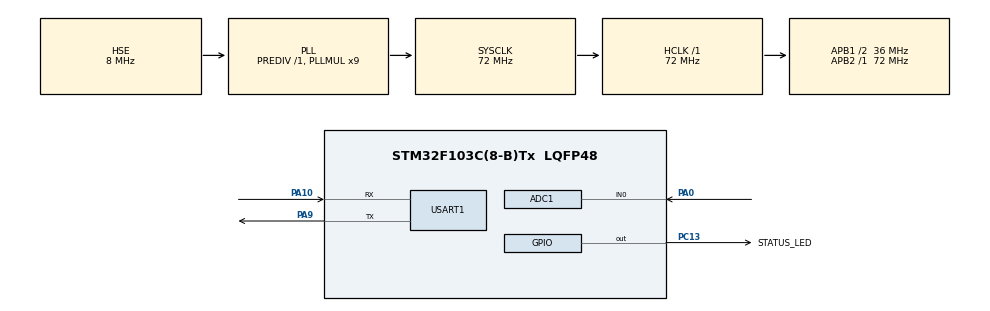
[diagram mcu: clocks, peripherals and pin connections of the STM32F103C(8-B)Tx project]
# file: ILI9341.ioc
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ADC1.Channel-0\#ChannelRegularConversion=ADC_CHANNEL_0
ADC1.ContinuousConvMode=DISABLE
ADC1.DataAlign=ADC_DATAALIGN_RIGHT
ADC1.DiscontinuousConvMode=DISABLE
ADC1.EnableAnalogWatchDog=false
ADC1.EnableRegularConversion=ENABLE
ADC1.ExternalTrigConv=ADC_EXTERNALTRIGCONV_T3_TRGO
ADC1.InjNumberOfConversion=0
ADC1.NbrOfConversion=1
ADC1.NbrOfConversionFlag=1
ADC1.Rank-0\#ChannelRegularConversion=1
ADC1.SamplingTime-0\#ChannelRegularConversion=ADC_SAMPLETIME_1CYCLE_5
ADC1.ScanConvMode=ADC_SCAN_DISABLE
ADC1.master=1
Dma.MEMTOMEM.0.Direction=DMA_MEMORY_TO_MEMORY
Dma.MEMTOMEM.0.Instance=DMA1_Channel1
Dma.MEMTOMEM.0.MemDataAlignment=DMA_MDATAALIGN_BYTE
Dma.MEMTOMEM.0.MemInc=DMA_MINC_ENABLE
Dma.MEMTOMEM.0.Mode=DMA_NORMAL
Dma.MEMTOMEM.0.PeriphDataAlignment=DMA_PDATAALIGN_BYTE
Dma.MEMTOMEM.0.PeriphInc=DMA_PINC_ENABLE
Dma.MEMTOMEM.0.Priority=DMA_PRIORITY_LOW
Dma.Request0=MEMTOMEM
Mcu.Family=STM32F1
Mcu.Name=STM32F103C(8-B)Tx
Mcu.Package=LQFP48
NVIC.PriorityGroup=NVIC_PRIORITYGROUP_4
NVIC.TIM3_IRQn=true\:0\:0\:false\:false\:true
PA0-WKUP.Signal=ADCx_IN0
PA10.Mode=Asynchronous
PA10.Signal=USART1_RX
PA13.Mode=Serial_Wire
PA13.Signal=SYS_JTMS-SWDIO
PA14.Mode=Serial_Wire
PA14.Signal=SYS_JTCK-SWCLK
PA9.Mode=Asynchronous
PA9.Signal=USART1_TX
PC13-TAMPER-RTC.GPIO_Label=STATUS_LED
PC13-TAMPER-RTC.Signal=GPIO_Output
PD0-OSC_IN.Mode=HSE-External-Oscillator
PD0-OSC_IN.Signal=RCC_OSC_IN
PD1-OSC_OUT.Mode=HSE-External-Oscillator
PD1-OSC_OUT.Signal=RCC_OSC_OUT
ProjectManager.HeapSize=0x200
ProjectManager.StackSize=0x400
ProjectManager.TargetToolchain=Makefile
RCC.ADCPresc=RCC_ADCPCLK2_DIV6
RCC.AHBFreq_Value=72000000
RCC.APB1CLKDivider=RCC_HCLK_DIV2
RCC.APB1Freq_Value=36000000
RCC.APB1TimFreq_Value=72000000
RCC.APB2Freq_Value=72000000
RCC.APB2TimFreq_Value=72000000
RCC.HCLKFreq_Value=72000000
RCC.PLLMUL=RCC_PLL_MUL9
RCC.PLLSourceVirtual=RCC_PLLSOURCE_HSE
RCC.SYSCLKFreq_VALUE=72000000
RCC.SYSCLKSource=RCC_SYSCLKSOURCE_PLLCLK
RCC.USBFreq_Value=72000000
SH.ADCx_IN0.0=ADC1_IN0,IN0
TIM3.Period=10
TIM3.Prescaler=72-1
TIM3.TIM_MasterOutputTrigger=TIM_TRGO_UPDATE
USART1.VirtualMode=VM_ASYNC
VP_TIM3_VS_ClockSourceINT.Mode=Internal
board=ILI9341

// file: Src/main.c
/**
  ******************************************************************************
  * File Name          : main.c
  * Description        : Main program body
  ******************************************************************************
  ** This notice applies to any and all portions of this file
  * that are not between comment pairs USER CODE BEGIN and
  * USER CODE END. Other portions of this file, whether
  * inserted by the user or by software development tools
  * are owned by their respective copyright owners.
  *
  * COPYRIGHT(c) 2018 STMicroelectronics
  *
  * Redistribution and use in source and binary forms, with or without modification,
  * are permitted provided that the following conditions are met:
  *   1. Redistributions of source code must retain the above copyright notice,
  *      this list of conditions and the following disclaimer.
  *   2. Redistributions in binary form must reproduce the above copyright notice,
  *      this list of conditions and the following disclaimer in the documentation
  *      and/or other materials provided with the distribution.
  *   3. Neither the name of STMicroelectronics nor the names of its contributors
  *      may be used to endorse or promote products derived from this software
  *      without specific prior written permission.
  *
  * THIS SOFTWARE IS PROVIDED BY THE COPYRIGHT HOLDERS AND CONTRIBUTORS "AS IS"
  * AND ANY EXPRESS OR IMPLIED WARRANTIES, INCLUDING, BUT NOT LIMITED TO, THE
  * IMPLIED WARRANTIES OF MERCHANTABILITY AND FITNESS FOR A PARTICULAR PURPOSE ARE
  * DISCLAIMED. IN NO EVENT SHALL THE COPYRIGHT HOLDER OR CONTRIBUTORS BE LIABLE
  * FOR ANY DIRECT, INDIRECT, INCIDENTAL, SPECIAL, EXEMPLARY, OR CONSEQUENTIAL
  * DAMAGES (INCLUDING, BUT NOT LIMITED TO, PROCUREMENT OF SUBSTITUTE GOODS OR
  * SERVICES; LOSS OF USE, DATA, OR PROFITS; OR BUSINESS INTERRUPTION) HOWEVER
  * CAUSED AND ON ANY THEORY OF LIABILITY, WHETHER IN CONTRACT, STRICT LIABILITY,
  * OR TORT (INCLUDING NEGLIGENCE OR OTHERWISE) ARISING IN ANY WAY OUT OF THE USE
  * OF THIS SOFTWARE, EVEN IF ADVISED OF THE POSSIBILITY OF SUCH DAMAGE.
  *
  ******************************************************************************
  */
#include "main.h"
#include "stm32f1xx_hal.h"
#include "adc.h"
#include "dma.h"
#include "tim.h"
#include "usart.h"
#include "gpio.h"

/* USER CODE BEGIN Includes */
#include "pins_ext.h"
#include "bit_band.h"
#include "soft_spi.h"
#include <math.h>
// #include <stdlib.h>
#include "ILI9341.h"
#include "xpt2046.h"
#include "draw.h"
#include "utoa.h"

#define M_PI 3.14159

void stled_on(void)
{
  HAL_GPIO_WritePin(STATUS_LED_GPIO_Port, STATUS_LED_Pin, GPIO_PIN_SET);
}

void stled_off(void)
{
  HAL_GPIO_WritePin(STATUS_LED_GPIO_Port, STATUS_LED_Pin, GPIO_PIN_RESET);
}

/* USER CODE END Includes */

/* USER CODE BEGIN PV */
/* Private variables ---------------------------------------------------------*/
extern bitband_t mosi; // mosi = BITBAND_PERIPH(&GPIOB->ODR, 6);
extern bitband_t clock; // clock = BITBAND_PERIPH(&GPIOB->ODR, 5);
extern bitband_t miso; // miso = BITBAND_PERIPH(&GPIOB->IDR, 4);
extern bitband_t lcd_rst; // lcd_rst = BITBAND_PERIPH(&GPIOB->ODR, 8);
extern bitband_t lcd_cs; // lcd_cs = BITBAND_PERIPH(&GPIOB->ODR, 9);
extern bitband_t lcd_dc; // lcd_dc = BITBAND_PERIPH(&GPIOB->ODR, 7);

extern bitband_t touch_cs;// = BITBAND_PERIPH(&GPIOB->ODR, 3);
extern bitband_t mosi_2;// = BITBAND_PERIPH(&GPIOB->ODR, 6);
extern bitband_t miso_2;// = BITBAND_PERIPH(&GPIOB->IDR, 4);
extern bitband_t clock_2;// = BITBAND_PERIPH(&GPIOB->ODR, 5);

/* USER CODE END PV */

void SystemClock_Config(void);

/* USER CODE BEGIN PFP */
/* Private function prototypes -----------------------------------------------*/

/* USER CODE END PFP */

int main(void)
{

  /* MCU Configuration----------------------------------------------------------*/

  /* Reset of all peripherals, Initializes the Flash interface and the Systick. */
  HAL_Init();

  /* USER CODE BEGIN Init */
  mosi = BITBAND_PERIPH(&GPIOB->ODR, 6);
  miso = BITBAND_PERIPH(&GPIOB->IDR, 4);
  clock = BITBAND_PERIPH(&GPIOB->ODR, 5);

  lcd_rst = BITBAND_PERIPH(&GPIOB->ODR, 8);
  lcd_cs = BITBAND_PERIPH(&GPIOB->ODR, 9);
  lcd_dc = BITBAND_PERIPH(&GPIOB->ODR, 7);

  mosi_2 = BITBAND_PERIPH(&GPIOA->ODR, 15);
  miso_2 = BITBAND_PERIPH(&GPIOA->IDR, 12);
  touch_cs = BITBAND_PERIPH(&GPIOB->ODR, 3);
  clock_2 = BITBAND_PERIPH(&GPIOB->ODR, 4);

  pin_mode(GPIOB, GPIO_PIN_3, GPIO_MODE_OUTPUT_PP); // lcd light "LCD_LED_Pin"
  pin_mode(GPIOB, GPIO_PIN_4, GPIO_MODE_INPUT); // lcd miso
  pin_mode(GPIOB, GPIO_PIN_5, GPIO_MODE_OUTPUT_PP); // lcd clk
  pin_mode(GPIOB, GPIO_PIN_6, GPIO_MODE_OUTPUT_PP); // lcd mosi
  pin_mode(GPIOB, GPIO_PIN_7, GPIO_MODE_OUTPUT_PP); // lcd data/command
  pin_mode(GPIOB, GPIO_PIN_8, GPIO_MODE_OUTPUT_PP); // lcd reset
  pin_mode(GPIOB, GPIO_PIN_9, GPIO_MODE_OUTPUT_PP); // lcd cs
//   bitband_t mosi = BITBAND_PERIPH(&GPIOB->ODR, 6);
  /* USER CODE END Init */

  /* Configure the system clock */
  SystemClock_Config();

  /* Initialize all configured peripherals */
  MX_GPIO_Init();
  MX_DMA_Init();
  MX_USART1_UART_Init();
  MX_ADC1_Init();
  MX_TIM3_Init();

  /* USER CODE BEGIN 2 */

  ILI9341_reset();
  // HAL_GPIO_WritePin(GPIOA, LCD_LED_Pin, GPIO_PIN_SET);
  soft_spi_set_bit_order(SPI_MSB_FIRST);
  soft_spi_set_data_mode(SPI_MODE0);
  soft_spi_set_clock_divider(SPI_CLOCK_DIV2);

  soft_spi_2_set_bit_order(SPI_MSB_FIRST);
  soft_spi_2_set_data_mode(SPI_MODE0);
  soft_spi_2_set_clock_2_divider(SPI_CLOCK_DIV2);

  ILI9341_begin(/*&hspi1*/);

  ILI9341_setRotation(0); // clear display & draw grid
  ILI9341_fillScreen(ILI9341_BLACK);
  ILI9341_setRotation(3);
  ILI9341_fillScreen(ILI9341_BLACK);

  /* USER CODE END 2 */

  /* Infinite loop */
  /* USER CODE BEGIN WHILE */

  HAL_TIM_Base_Init(&htim3);
  HAL_TIM_PeriodElapsedCallback(&htim3);
  HAL_TIM_Base_Start_IT(&htim3); // timer run

// HAL_TIM_Base_Init(&htim4);
// HAL_TIM_Base_Start_IT(&htim4); // timer run

  HAL_ADC_Start(&hadc1); // adc run
  write_grid();
  TS_Point p;
  p.x=0;
  p.y=0;
  p.z=0;
  draw_touch(p.x,p.y,p.z); // for text data

  while (1)
  {
    get_point(&p); // get coordinates x y z from xpt2046
    ILI9341_setRotation(3);
    if(p.z>100)
    draw_touch(p.x,p.y,p.z); // for text data

    //oscil_run();
    /*for(uint16_t i = 0; i < 320; i++) // measurement and display redraw
    {
      fill_buff(i);
      write_graph(i);
      if(i==1)
       write_text(i);
      if(!i)
      {
        write_grid();
      }
    }*/

  /* USER CODE END WHILE */

  }

}

/** System Clock Configuration
*/
void SystemClock_Config(void)
{

  RCC_OscInitTypeDef RCC_OscInitStruct;
  RCC_ClkInitTypeDef RCC_ClkInitStruct;
  RCC_PeriphCLKInitTypeDef PeriphClkInit;

    /**Initializes the CPU, AHB and APB busses clocks
    */
  RCC_OscInitStruct.OscillatorType = RCC_OSCILLATORTYPE_HSE;
  RCC_OscInitStruct.HSEState = RCC_HSE_ON;
  RCC_OscInitStruct.HSEPredivValue = RCC_HSE_PREDIV_DIV1;
  RCC_OscInitStruct.HSIState = RCC_HSI_ON;
  RCC_OscInitStruct.PLL.PLLState = RCC_PLL_ON;
  RCC_OscInitStruct.PLL.PLLSource = RCC_PLLSOURCE_HSE;
  RCC_OscInitStruct.PLL.PLLMUL = RCC_PLL_MUL9;
  if (HAL_RCC_OscConfig(&RCC_OscInitStruct) != HAL_OK)
  {
    _Error_Handler(__FILE__, __LINE__);
  }

    /**Initializes the CPU, AHB and APB busses clocks
    */
  RCC_ClkInitStruct.ClockType = RCC_CLOCKTYPE_HCLK|RCC_CLOCKTYPE_SYSCLK
                              |RCC_CLOCKTYPE_PCLK1|RCC_CLOCKTYPE_PCLK2;
  RCC_ClkInitStruct.SYSCLKSource = RCC_SYSCLKSOURCE_PLLCLK;
  RCC_ClkInitStruct.AHBCLKDivider = RCC_SYSCLK_DIV1;
  RCC_ClkInitStruct.APB1CLKDivider = RCC_HCLK_DIV2;
  RCC_ClkInitStruct.APB2CLKDivider = RCC_HCLK_DIV1;

  if (HAL_RCC_ClockConfig(&RCC_ClkInitStruct, FLASH_LATENCY_2) != HAL_OK)
  {
    _Error_Handler(__FILE__, __LINE__);
  }

  PeriphClkInit.PeriphClockSelection = RCC_PERIPHCLK_ADC;
  PeriphClkInit.AdcClockSelection = RCC_ADCPCLK2_DIV6;
  if (HAL_RCCEx_PeriphCLKConfig(&PeriphClkInit) != HAL_OK)
  {
    _Error_Handler(__FILE__, __LINE__);
  }

    /**Configure the Systick interrupt time
    */
  HAL_SYSTICK_Config(HAL_RCC_GetHCLKFreq()/1000);

    /**Configure the Systick
    */
  HAL_SYSTICK_CLKSourceConfig(SYSTICK_CLKSOURCE_HCLK);

  /* SysTick_IRQn interrupt configuration */
  HAL_NVIC_SetPriority(SysTick_IRQn, 0, 0);
}

/* USER CODE BEGIN 4 */
void HAL_TIM_PeriodElapsedCallback(TIM_HandleTypeDef *htim3)
{
  HAL_GPIO_TogglePin(GPIOC,GPIO_PIN_13);
}
/* USER CODE END 4 */

void _Error_Handler(char * file, int line)
{
  while(1)
  {
  }
}

#ifdef USE_FULL_ASSERT

/**
   * @brief Reports the name of the source file and the source line number
   * where the assert_param error has occurred.
   * @param file: pointer to the source file name
   * @param line: assert_param error line source number
   * @retval None
   */
void assert_failed(uint8_t* file, uint32_t line)
{
  /* USER CODE BEGIN 6 */
  /* User can add his own implementation to report the file name and line number,
   *    ex: printf("Wrong parameters value: file %s on line %d\r\n", file, line) */
  /* USER CODE END 6 */

}

#endif

/************************ (C) COPYRIGHT STMicroelectronics *****END OF FILE****/
